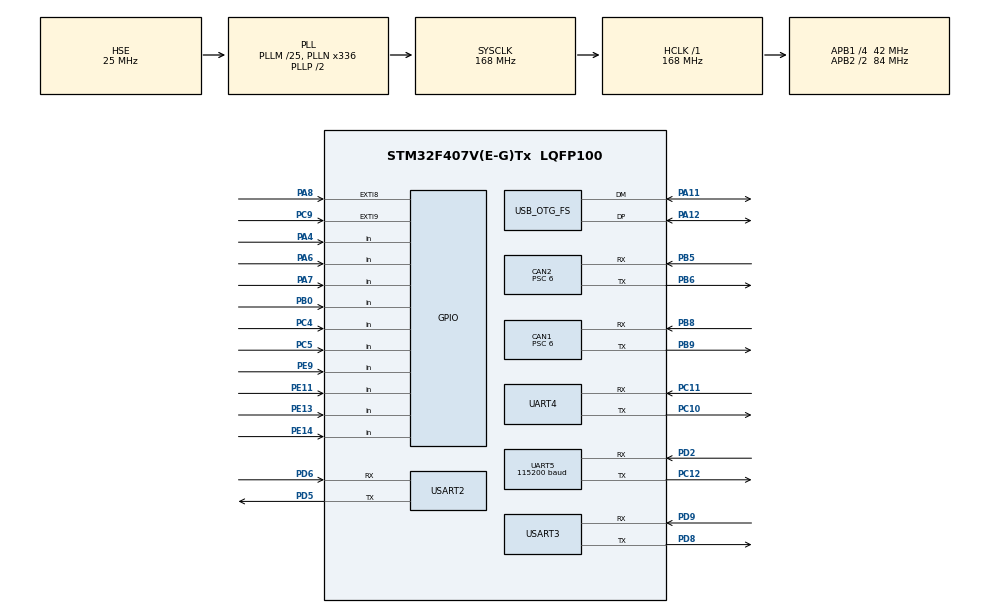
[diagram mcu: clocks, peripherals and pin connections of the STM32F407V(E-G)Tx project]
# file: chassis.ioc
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CAN1.BS1=CAN_BS1_3TQ
CAN1.BS2=CAN_BS2_3TQ
CAN1.CalculateBaudRate=1000000
CAN1.CalculateTimeBit=1000
CAN1.CalculateTimeQuantum=142.85714285714286
CAN1.Prescaler=6
CAN2.BS1=CAN_BS1_3TQ
CAN2.BS2=CAN_BS2_3TQ
CAN2.CalculateBaudRate=1000000
CAN2.CalculateTimeBit=1000
CAN2.CalculateTimeQuantum=142.85714285714286
CAN2.Mode=CAN_MODE_NORMAL
CAN2.Prescaler=6
Dma.Request0=UART4_RX
Dma.Request1=UART4_TX
Dma.Request2=UART5_RX
Dma.Request3=UART5_TX
Dma.Request4=USART3_RX
Dma.Request5=USART3_TX
Dma.Request6=USART2_RX
Dma.UART4_RX.0.Direction=DMA_PERIPH_TO_MEMORY
Dma.UART4_RX.0.FIFOMode=DMA_FIFOMODE_DISABLE
Dma.UART4_RX.0.Instance=DMA1_Stream2
Dma.UART4_RX.0.MemDataAlignment=DMA_MDATAALIGN_BYTE
Dma.UART4_RX.0.MemInc=DMA_MINC_ENABLE
Dma.UART4_RX.0.Mode=DMA_NORMAL
Dma.UART4_RX.0.PeriphDataAlignment=DMA_PDATAALIGN_BYTE
Dma.UART4_RX.0.PeriphInc=DMA_PINC_DISABLE
Dma.UART4_RX.0.Priority=DMA_PRIORITY_LOW
Dma.UART4_TX.1.Direction=DMA_MEMORY_TO_PERIPH
Dma.UART4_TX.1.FIFOMode=DMA_FIFOMODE_DISABLE
Dma.UART4_TX.1.Instance=DMA1_Stream4
Dma.UART4_TX.1.MemDataAlignment=DMA_MDATAALIGN_BYTE
Dma.UART4_TX.1.MemInc=DMA_MINC_ENABLE
Dma.UART4_TX.1.Mode=DMA_NORMAL
Dma.UART4_TX.1.PeriphDataAlignment=DMA_PDATAALIGN_BYTE
Dma.UART4_TX.1.PeriphInc=DMA_PINC_DISABLE
Dma.UART4_TX.1.Priority=DMA_PRIORITY_LOW
Dma.UART5_RX.2.Direction=DMA_PERIPH_TO_MEMORY
Dma.UART5_RX.2.FIFOMode=DMA_FIFOMODE_DISABLE
Dma.UART5_RX.2.Instance=DMA1_Stream0
Dma.UART5_RX.2.MemDataAlignment=DMA_MDATAALIGN_BYTE
Dma.UART5_RX.2.MemInc=DMA_MINC_ENABLE
Dma.UART5_RX.2.Mode=DMA_NORMAL
Dma.UART5_RX.2.PeriphDataAlignment=DMA_PDATAALIGN_BYTE
Dma.UART5_RX.2.PeriphInc=DMA_PINC_DISABLE
Dma.UART5_RX.2.Priority=DMA_PRIORITY_LOW
Dma.UART5_TX.3.Direction=DMA_MEMORY_TO_PERIPH
Dma.UART5_TX.3.FIFOMode=DMA_FIFOMODE_DISABLE
Dma.UART5_TX.3.Instance=DMA1_Stream7
Dma.UART5_TX.3.MemDataAlignment=DMA_MDATAALIGN_BYTE
Dma.UART5_TX.3.MemInc=DMA_MINC_ENABLE
Dma.UART5_TX.3.Mode=DMA_NORMAL
Dma.UART5_TX.3.PeriphDataAlignment=DMA_PDATAALIGN_BYTE
Dma.UART5_TX.3.PeriphInc=DMA_PINC_DISABLE
Dma.UART5_TX.3.Priority=DMA_PRIORITY_LOW
Dma.USART2_RX.6.Direction=DMA_PERIPH_TO_MEMORY
Dma.USART2_RX.6.FIFOMode=DMA_FIFOMODE_DISABLE
Dma.USART2_RX.6.Instance=DMA1_Stream5
Dma.USART2_RX.6.MemDataAlignment=DMA_MDATAALIGN_BYTE
Dma.USART2_RX.6.MemInc=DMA_MINC_ENABLE
Dma.USART2_RX.6.Mode=DMA_NORMAL
Dma.USART2_RX.6.PeriphDataAlignment=DMA_PDATAALIGN_BYTE
Dma.USART2_RX.6.PeriphInc=DMA_PINC_DISABLE
Dma.USART2_RX.6.Priority=DMA_PRIORITY_LOW
Dma.USART3_RX.4.Direction=DMA_PERIPH_TO_MEMORY
Dma.USART3_RX.4.FIFOMode=DMA_FIFOMODE_DISABLE
Dma.USART3_RX.4.Instance=DMA1_Stream1
Dma.USART3_RX.4.MemDataAlignment=DMA_MDATAALIGN_BYTE
Dma.USART3_RX.4.MemInc=DMA_MINC_ENABLE
Dma.USART3_RX.4.Mode=DMA_NORMAL
Dma.USART3_RX.4.PeriphDataAlignment=DMA_PDATAALIGN_BYTE
Dma.USART3_RX.4.PeriphInc=DMA_PINC_DISABLE
Dma.USART3_RX.4.Priority=DMA_PRIORITY_LOW
Dma.USART3_TX.5.Direction=DMA_MEMORY_TO_PERIPH
Dma.USART3_TX.5.FIFOMode=DMA_FIFOMODE_DISABLE
Dma.USART3_TX.5.Instance=DMA1_Stream3
Dma.USART3_TX.5.MemDataAlignment=DMA_MDATAALIGN_BYTE
Dma.USART3_TX.5.MemInc=DMA_MINC_ENABLE
Dma.USART3_TX.5.Mode=DMA_NORMAL
Dma.USART3_TX.5.PeriphDataAlignment=DMA_PDATAALIGN_BYTE
Dma.USART3_TX.5.PeriphInc=DMA_PINC_DISABLE
Dma.USART3_TX.5.Priority=DMA_PRIORITY_LOW
FREERTOS.INCLUDE_uxTaskGetStackHighWaterMark=1
FREERTOS.INCLUDE_vTaskDelayUntil=1
FREERTOS.Tasks01=defaultTask,0,128,StartDefaultTask,Default,NULL,Dynamic,NULL,NULL
FREERTOS.configTOTAL_HEAP_SIZE=40960
FREERTOS.configUSE_TIMERS=1
Mcu.Family=STM32F4
Mcu.Name=STM32F407V(E-G)Tx
Mcu.Package=LQFP100
NVIC.CAN1_RX0_IRQn=true\:5\:0\:false\:false\:true\:true\:true\:true\:true
NVIC.CAN1_TX_IRQn=true\:5\:0\:false\:false\:true\:true\:true\:true\:true
NVIC.CAN2_RX1_IRQn=true\:5\:0\:false\:false\:true\:true\:true\:true\:true
NVIC.CAN2_TX_IRQn=true\:5\:0\:false\:false\:true\:true\:true\:true\:true
NVIC.DMA1_Stream0_IRQn=true\:5\:0\:false\:false\:true\:true\:false\:true\:true
NVIC.DMA1_Stream1_IRQn=true\:5\:0\:false\:false\:true\:true\:false\:true\:true
NVIC.DMA1_Stream2_IRQn=true\:5\:0\:false\:false\:true\:true\:false\:true\:true
NVIC.DMA1_Stream3_IRQn=true\:5\:0\:false\:false\:true\:true\:false\:true\:true
NVIC.DMA1_Stream4_IRQn=true\:5\:0\:false\:false\:true\:true\:false\:true\:true
NVIC.DMA1_Stream5_IRQn=true\:5\:0\:false\:false\:true\:true\:false\:true\:true
NVIC.DMA1_Stream7_IRQn=true\:5\:0\:false\:false\:true\:true\:false\:true\:true
NVIC.EXTI9_5_IRQn=true\:5\:0\:false\:false\:true\:true\:true\:true\:true
NVIC.OTG_FS_IRQn=true\:5\:0\:false\:false\:true\:true\:false\:true\:true
NVIC.PriorityGroup=NVIC_PRIORITYGROUP_4
NVIC.TIM8_TRG_COM_TIM14_IRQn=true\:15\:0\:false\:false\:true\:false\:true\:true\:true
NVIC.TimeBase=TIM8_TRG_COM_TIM14_IRQn
NVIC.TimeBaseIP=TIM14
NVIC.UART4_IRQn=true\:5\:0\:false\:false\:true\:true\:true\:true\:true
NVIC.UART5_IRQn=true\:5\:0\:false\:false\:true\:true\:true\:true\:true
NVIC.USART2_IRQn=true\:5\:0\:false\:false\:true\:true\:true\:true\:true
NVIC.USART3_IRQn=true\:5\:0\:false\:false\:true\:true\:true\:true\:true
PA11.Mode=Device_Only
PA11.Signal=USB_OTG_FS_DM
PA12.Mode=Device_Only
PA12.Signal=USB_OTG_FS_DP
PA13.Mode=Serial_Wire
PA13.Signal=SYS_JTMS-SWDIO
PA14.Mode=Serial_Wire
PA14.Signal=SYS_JTCK-SWCLK
PA4.GPIO_PuPd=GPIO_PULLDOWN
PA4.Signal=GPIO_Input
PA6.GPIO_PuPd=GPIO_PULLDOWN
PA6.Signal=GPIO_Input
PA7.GPIO_PuPd=GPIO_PULLDOWN
PA7.Signal=GPIO_Input
PA8.GPIO_ModeDefaultEXTI=GPIO_MODE_IT_RISING_FALLING
PA8.GPIO_PuPd=GPIO_PULLDOWN
PA8.Signal=GPXTI8
PB0.GPIO_PuPd=GPIO_PULLDOWN
PB0.Signal=GPIO_Input
PB5.Mode=CAN_Activate
PB5.Signal=CAN2_RX
PB6.Mode=CAN_Activate
PB6.Signal=CAN2_TX
PB8.Mode=CAN_Activate
PB8.Signal=CAN1_RX
PB9.Mode=CAN_Activate
PB9.Signal=CAN1_TX
PC10.Mode=Asynchronous
PC10.Signal=UART4_TX
PC11.Mode=Asynchronous
PC11.Signal=UART4_RX
PC12.Mode=Asynchronous
PC12.Signal=UART5_TX
PC4.GPIO_PuPd=GPIO_PULLDOWN
PC4.Signal=GPIO_Input
PC5.GPIO_PuPd=GPIO_PULLDOWN
PC5.Signal=GPIO_Input
PC9.GPIO_ModeDefaultEXTI=GPIO_MODE_IT_RISING_FALLING
PC9.GPIO_PuPd=GPIO_PULLDOWN
PC9.Signal=GPXTI9
PD2.Mode=Asynchronous
PD2.Signal=UART5_RX
PD5.Mode=Asynchronous
PD5.Signal=USART2_TX
PD6.Mode=Asynchronous
PD6.Signal=USART2_RX
PD8.Mode=Asynchronous
PD8.Signal=USART3_TX
PD9.Mode=Asynchronous
PD9.Signal=USART3_RX
PE11.GPIO_PuPd=GPIO_PULLDOWN
PE11.Signal=GPIO_Input
PE13.GPIO_PuPd=GPIO_PULLDOWN
PE13.Signal=GPIO_Input
PE14.GPIO_PuPd=GPIO_PULLDOWN
PE14.Signal=GPIO_Input
PE9.GPIO_PuPd=GPIO_PULLDOWN
PE9.Signal=GPIO_Input
PH0-OSC_IN.Mode=HSE-External-Oscillator
PH0-OSC_IN.Signal=RCC_OSC_IN
PH1-OSC_OUT.Mode=HSE-External-Oscillator
PH1-OSC_OUT.Signal=RCC_OSC_OUT
ProjectManager.HeapSize=0x1000
ProjectManager.StackSize=0x400
ProjectManager.TargetToolchain=MDK-ARM V5
RCC.48MHZClocksFreq_Value=48000000
RCC.AHBFreq_Value=168000000
RCC.APB1CLKDivider=RCC_HCLK_DIV4
RCC.APB1Freq_Value=42000000
RCC.APB1TimFreq_Value=84000000
RCC.APB2CLKDivider=RCC_HCLK_DIV2
RCC.APB2Freq_Value=84000000
RCC.APB2TimFreq_Value=168000000
RCC.CortexFreq_Value=168000000
RCC.HCLKFreq_Value=168000000
RCC.HSE_VALUE=25000000
RCC.HSI_VALUE=16000000
RCC.LSE_VALUE=32768
RCC.PLLM=25
RCC.PLLN=336
RCC.PLLQ=7
RCC.SYSCLKFreq_VALUE=168000000
RCC.SYSCLKSource=RCC_SYSCLKSOURCE_PLLCLK
RCC.VCOOutputFreq_Value=336000000
STMicroelectronics.X-CUBE-ALGOBUILD.1.4.0.LibraryCcDSPOoLibraryJjDSPOoLibrary=true
UART4.VirtualMode=Asynchronous
UART5.BaudRate=115200
UART5.VirtualMode=Asynchronous
USART2.VirtualMode=VM_ASYNC
USART3.VirtualMode=VM_ASYNC
USB_DEVICE.CLASS_NAME_FS=CDC
USB_DEVICE.VirtualMode-CDC_FS=Cdc
USB_DEVICE.VirtualModeFS=Cdc_FS
USB_OTG_FS.VirtualMode=Device_Only
VP_FREERTOS_VS_CMSIS_V1.Mode=CMSIS_V1
VP_STMicroelectronics.X-CUBE-ALGOBUILD_VS_DSPOoLibraryJjLibrary_1.4.0_1.4.0.Mode=DSPOoLibraryJjLibrary
VP_SYS_VS_tim14.Mode=TIM14
VP_USB_DEVICE_VS_USB_DEVICE_CDC_FS.Mode=CDC_FS
board=custom

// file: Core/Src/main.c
/* USER CODE BEGIN Header */
/**
  ******************************************************************************
  * @file           : main.c
  * @brief          : Main program body
  ******************************************************************************
  * @attention
  *
  * Copyright (c) 2024 STMicroelectronics.
  * All rights reserved.
  *
  * This software is licensed under terms that can be found in the LICENSE file
  * in the root directory of this software component.
  * If no LICENSE file comes with this software, it is provided AS-IS.
  *
  ******************************************************************************
  */
/* USER CODE END Header */
#include "main.h"
#include "cmsis_os.h"
#include "can.h"
#include "dma.h"
#include "usart.h"
#include "usb_device.h"
#include "gpio.h"

/* USER CODE BEGIN Includes */
#include "RMLibHead.h"
#include "CANDRive.h"
#include "encoder.h"
#include "Task_Init.h"
/* USER CODE END Includes */

/* USER CODE BEGIN PD */
#define HAL_CAN_MODULE_ENABLED
/* USER CODE END PD */

void SystemClock_Config(void);
void MX_FREERTOS_Init(void);

int main(void)
{

  /* MCU Configuration--------------------------------------------------------*/

  /* Reset of all peripherals, Initializes the Flash interface and the Systick. */
  HAL_Init();

  /* Configure the system clock */
  SystemClock_Config();

  /* Initialize all configured peripherals */
  MX_GPIO_Init();
  MX_DMA_Init();
  MX_CAN1_Init();
  MX_CAN2_Init();
  MX_UART4_Init();
  MX_UART5_Init();
  MX_USART3_UART_Init();
  MX_USART2_UART_Init();
  /* USER CODE BEGIN 2 */
	MX_USB_DEVICE_Init();
	CanFilter_Init(&hcan1);
	CanFilter_Init(&hcan2);
	HAL_CAN_Start(&hcan1);
	HAL_CAN_Start(&hcan2);
	HAL_CAN_ActivateNotification(&hcan1,CAN_IT_RX_FIFO0_MSG_PENDING);
	HAL_CAN_ActivateNotification(&hcan2,CAN_IT_RX_FIFO1_MSG_PENDING);
	Task_Init();
  /* USER CODE END 2 */

  /* Call init function for freertos objects (in cmsis_os2.c) */
  MX_FREERTOS_Init();

  /* Start scheduler */
  osKernelStart();

  /* We should never get here as control is now taken by the scheduler */

  /* Infinite loop */
  while (1)
  {

  }
}

void SystemClock_Config(void)
{
  RCC_OscInitTypeDef RCC_OscInitStruct = {0};
  RCC_ClkInitTypeDef RCC_ClkInitStruct = {0};

  /** Configure the main internal regulator output voltage
  */
  __HAL_RCC_PWR_CLK_ENABLE();
  __HAL_PWR_VOLTAGESCALING_CONFIG(PWR_REGULATOR_VOLTAGE_SCALE1);

  /** Initializes the RCC Oscillators according to the specified parameters
  * in the RCC_OscInitTypeDef structure.
  */
  RCC_OscInitStruct.OscillatorType = RCC_OSCILLATORTYPE_HSE;
  RCC_OscInitStruct.HSEState = RCC_HSE_ON;
  RCC_OscInitStruct.PLL.PLLState = RCC_PLL_ON;
  RCC_OscInitStruct.PLL.PLLSource = RCC_PLLSOURCE_HSE;
  RCC_OscInitStruct.PLL.PLLM = 25;
  RCC_OscInitStruct.PLL.PLLN = 336;
  RCC_OscInitStruct.PLL.PLLP = RCC_PLLP_DIV2;
  RCC_OscInitStruct.PLL.PLLQ = 7;
  if (HAL_RCC_OscConfig(&RCC_OscInitStruct) != HAL_OK)
  {
    Error_Handler();
  }

  /** Initializes the CPU, AHB and APB buses clocks
  */
  RCC_ClkInitStruct.ClockType = RCC_CLOCKTYPE_HCLK|RCC_CLOCKTYPE_SYSCLK
                              |RCC_CLOCKTYPE_PCLK1|RCC_CLOCKTYPE_PCLK2;
  RCC_ClkInitStruct.SYSCLKSource = RCC_SYSCLKSOURCE_PLLCLK;
  RCC_ClkInitStruct.AHBCLKDivider = RCC_SYSCLK_DIV1;
  RCC_ClkInitStruct.APB1CLKDivider = RCC_HCLK_DIV4;
  RCC_ClkInitStruct.APB2CLKDivider = RCC_HCLK_DIV2;

  if (HAL_RCC_ClockConfig(&RCC_ClkInitStruct, FLASH_LATENCY_5) != HAL_OK)
  {
    Error_Handler();
  }
}

void HAL_TIM_PeriodElapsedCallback(TIM_HandleTypeDef *htim)
{
  if (htim->Instance == TIM14)
  {
    HAL_IncTick();
  }
}

void Error_Handler(void)
{
  __disable_irq();
  while (1)
  {
  }
}

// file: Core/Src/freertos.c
/* USER CODE BEGIN Header */
/**
  ******************************************************************************
  * File Name          : freertos.c
  * Description        : Code for freertos applications
  ******************************************************************************
  * @attention
  *
  * Copyright (c) 2024 STMicroelectronics.
  * All rights reserved.
  *
  * This software is licensed under terms that can be found in the LICENSE file
  * in the root directory of this software component.
  * If no LICENSE file comes with this software, it is provided AS-IS.
  *
  ******************************************************************************
  */
/* USER CODE END Header */

#include "FreeRTOS.h"
#include "task.h"
#include "main.h"
#include "cmsis_os.h"

/* USER CODE BEGIN Includes */
#include "Task_Init.h"
#include "semphr.h"
/* USER CODE END Includes */

/* USER CODE BEGIN PD */
SemaphoreHandle_t Chassis_semaphore;
SemaphoreHandle_t uart4_tx_sem;
uint16_t _stack[5] = {0};
extern TaskHandle_t Wheel_Handles[2];
extern TaskHandle_t Can_Send_Handle;
extern TaskHandle_t task_handle;
/* USER CODE END PD */

osThreadId defaultTaskHandle;

void StartDefaultTask(void const * argument);

extern void MX_USB_DEVICE_Init(void);
void MX_FREERTOS_Init(void); /* (MISRA C 2004 rule 8.1) */

/* GetIdleTaskMemory prototype (linked to static allocation support) */
void vApplicationGetIdleTaskMemory( StaticTask_t **ppxIdleTaskTCBBuffer, StackType_t **ppxIdleTaskStackBuffer, uint32_t *pulIdleTaskStackSize );

/* GetTimerTaskMemory prototype (linked to static allocation support) */
void vApplicationGetTimerTaskMemory( StaticTask_t **ppxTimerTaskTCBBuffer, StackType_t **ppxTimerTaskStackBuffer, uint32_t *pulTimerTaskStackSize );

/* USER CODE BEGIN GET_IDLE_TASK_MEMORY */
static StaticTask_t xIdleTaskTCBBuffer;
static StackType_t xIdleStack[configMINIMAL_STACK_SIZE];

void vApplicationGetIdleTaskMemory( StaticTask_t **ppxIdleTaskTCBBuffer, StackType_t **ppxIdleTaskStackBuffer, uint32_t *pulIdleTaskStackSize )
{
  *ppxIdleTaskTCBBuffer = &xIdleTaskTCBBuffer;
  *ppxIdleTaskStackBuffer = &xIdleStack[0];
  *pulIdleTaskStackSize = configMINIMAL_STACK_SIZE;
  /* place for user code */
}
/* USER CODE END GET_IDLE_TASK_MEMORY */

/* USER CODE BEGIN GET_TIMER_TASK_MEMORY */
static StaticTask_t xTimerTaskTCBBuffer;
static StackType_t xTimerStack[configTIMER_TASK_STACK_DEPTH];

void vApplicationGetTimerTaskMemory( StaticTask_t **ppxTimerTaskTCBBuffer, StackType_t **ppxTimerTaskStackBuffer, uint32_t *pulTimerTaskStackSize )
{
  *ppxTimerTaskTCBBuffer = &xTimerTaskTCBBuffer;
  *ppxTimerTaskStackBuffer = &xTimerStack[0];
  *pulTimerTaskStackSize = configTIMER_TASK_STACK_DEPTH;
  /* place for user code */
}
/* USER CODE END GET_TIMER_TASK_MEMORY */

void MX_FREERTOS_Init(void) {

  /* USER CODE BEGIN RTOS_QUEUES */
	Chassis_semaphore = xSemaphoreCreateBinary();
	uart4_tx_sem = xSemaphoreCreateBinary();
  /* add queues, ... */
  /* USER CODE END RTOS_QUEUES */

  /* Create the thread(s) */
  /* definition and creation of defaultTask */
  osThreadDef(defaultTask, StartDefaultTask, osPriorityNormal, 0, 128);
  defaultTaskHandle = osThreadCreate(osThread(defaultTask), NULL);

}

void StartDefaultTask(void const * argument)
{
  /* init code for USB_DEVICE */
  MX_USB_DEVICE_Init();
  /* USER CODE BEGIN StartDefaultTask */
  /* Infinite loop */
  for(;;)
  {
		_stack[0]=uxTaskGetStackHighWaterMark(Wheel_Handles[0]);
		_stack[1]=uxTaskGetStackHighWaterMark(Wheel_Handles[1]);
		_stack[2]=uxTaskGetStackHighWaterMark(Can_Send_Handle);
		_stack[3]=uxTaskGetStackHighWaterMark(task_handle);
    _stack[4]=uxTaskGetStackHighWaterMark(defaultTaskHandle);
    osDelay(1000);
  }
  /* USER CODE END StartDefaultTask */
}
